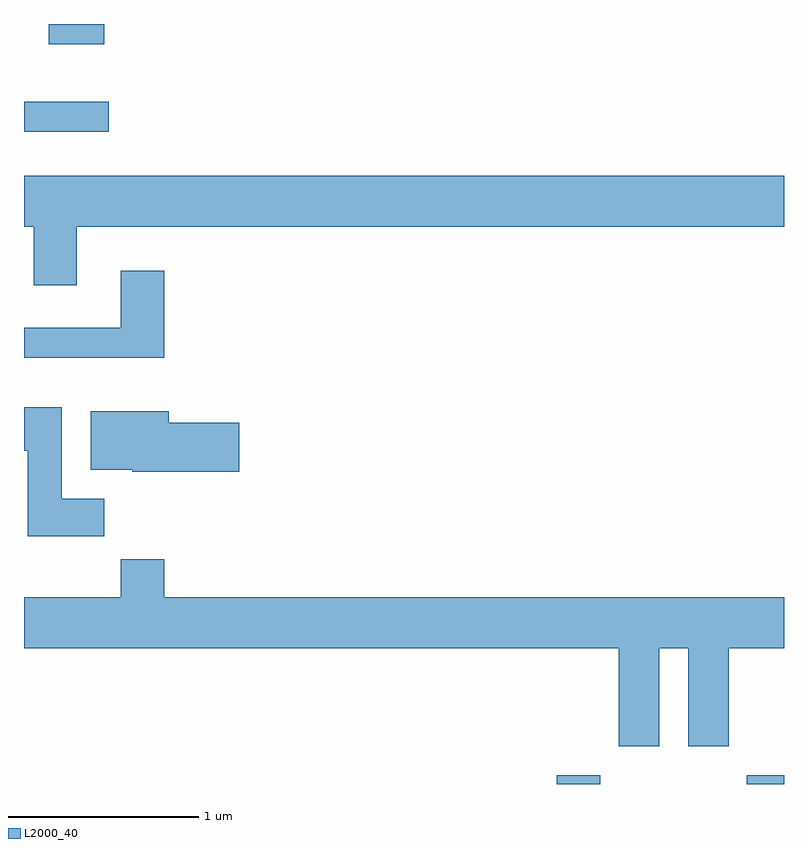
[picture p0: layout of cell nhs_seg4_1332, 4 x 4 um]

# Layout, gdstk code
import gdstk
lib = gdstk.Library(unit=1e-6, precision=1e-09)
def R(c, l, rs):  # rectangles x0, y0, x1, y1
    for r in rs: c.add(gdstk.rectangle(r[:2], r[2:], *l))
def P(c, l, *ps):  # polygons
    for p in ps: c.add(gdstk.Polygon(p, *l))
L2000_40 = (2000, 40)

nhs_seg4_1332 = lib.new_cell('nhs_seg4_1332')
R(nhs_seg4_1332, L2000_40, [(226.416,1333.982,226.644,1334.029), (227.416,1333.982,227.611,1334.029), (223.611,1337.416,224.058,1337.574), (223.741,1337.876,224.034,1337.982)])
P(nhs_seg4_1332, L2000_40, [(223.889,1336.916),(227.611,1336.916),(227.611,1337.184),(223.611,1337.184),(223.611,1336.916),(223.661,1336.916),(223.661,1336.606),(223.889,1336.606)],
  [(224.349,1336.684),(224.121,1336.684),(224.121,1336.384),(223.611,1336.384),(223.611,1336.226),(224.349,1336.226)],
  [(224.034,1335.484),(223.809,1335.484),(223.809,1335.964),(223.611,1335.964),(223.611,1335.736),(223.631,1335.736),(223.631,1335.286),(224.034,1335.286)],
  [(224.744,1335.884),(224.374,1335.884),(224.374,1335.944),(223.961,1335.944),(223.961,1335.636),(224.18,1335.636),(224.18,1335.626),(224.744,1335.626)],
  [(226.954,1334.696),(227.106,1334.696),(227.106,1334.181),(227.319,1334.181),(227.319,1334.696),(227.611,1334.696),(227.611,1334.964),(224.349,1334.964),(224.349,1335.164),(224.121,1335.164),(224.121,1334.964),(223.611,1334.964),(223.611,1334.696),(226.741,1334.696),(226.741,1334.181),(226.954,1334.181)])

lib.write_gds('nhs_seg4_1332.gds')
